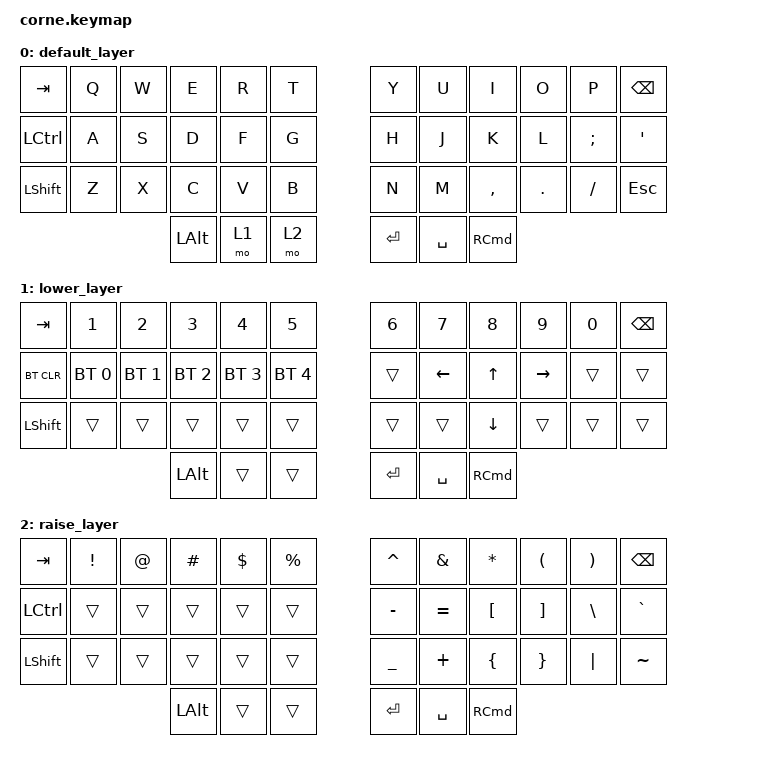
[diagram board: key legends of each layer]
/*
 * Copyright (c) 2020 The ZMK Contributors
 *
 * SPDX-License-Identifier: MIT
 */

#include <behaviors.dtsi>
#include <dt-bindings/zmk/keys.h>
#include <dt-bindings/zmk/bt.h>

/ {
        keymap {
                compatible = "zmk,keymap";

                default_layer {
// -----------------------------------------------------------------------------------------
// |  TAB |  Q  |  W  |  E  |  R  |  T  |   |  Y  |  U   |  I  |  O  |  P  | BSPC |
// | CTRL |  A  |  S  |  D  |  F  |  G  |   |  H  |  J   |  K  |  L  |  ;  |  '   |
// | SHFT |  Z  |  X  |  C  |  V  |  B  |   |  N  |  M   |  ,  |  .  |  /  | ESC  |
//                    | ALT | LWR | RSE |   | ENT | SPC  | CMD |
                        bindings = <
   &kp TAB   &kp Q &kp W &kp E &kp R &kp T   &kp Y &kp U  &kp I     &kp O   &kp P    &kp BSPC
   &kp LCTRL &kp A &kp S &kp D &kp F &kp G   &kp H &kp J  &kp K     &kp L   &kp SEMI &kp SQT
   &kp LSHFT &kp Z &kp X &kp C &kp V &kp B   &kp N &kp M  &kp COMMA &kp DOT &kp FSLH &kp ESC
                  &kp LALT &mo 1 &mo 2   &kp RET &kp SPACE &kp RCMD
                        >;
                };
                lower_layer {
// -----------------------------------------------------------------------------------------
// |  TAB |  1  |  2  |  3  |  4  |  5  |   |  6  |  7  |  8  |  9  |  0  | BSPC |
// | BTCLR| BT1 | BT2 | BT3 | BT4 | BT5 |   |     | LFT |  UP | RGT |     |      |
// | SHFT |     |     |     |     |     |   |     |     | DWN |     |     |      |
//                    | ALT |     |     |   | ENT | SPC | CMD |
                        bindings = <
   &kp TAB    &kp N1       &kp N2       &kp N3       &kp N4       &kp N5         &kp N6   &kp N7   &kp N8   &kp N9   &kp N0   &kp BSPC
   &bt BT_CLR &bt BT_SEL 0 &bt BT_SEL 1 &bt BT_SEL 2 &bt BT_SEL 3 &bt BT_SEL 4   &trans  &kp LEFT &kp UP &kp RIGHT &trans &trans
   &kp LSHFT  &trans       &trans       &trans       &trans       &trans         &trans   &trans   &kp DOWN &trans   &trans   &trans
                                    &kp LALT     &trans       &trans       &kp RET  &kp SPACE   &kp RCMD
                        >;
                };

                raise_layer {
// -----------------------------------------------------------------------------------------
// |  TAB |  !  |  @  |  #  |  $  |  %  |   |  ^  |  &  |  *  |  (  |  )  | BSPC |
// | CTRL |     |     |     |     |     |   |  -  |  =  |  [  |  ]  |  \  |  `   |
// | SHFT |     |     |     |     |     |   |  _  |  +  |  {  |  }  | "|" |  ~   |
//                    | ALT |     |     |   | ENT | SPC | CMD |
                        bindings = <
   &kp  TAB  &kp EXCL &kp AT &kp HASH &kp DLLR &kp PRCNT   &kp CARET &kp AMPS  &kp ASTRK &kp LPAR &kp RPAR &kp BSPC
   &kp LCTRL &trans   &trans &trans   &trans   &trans      &kp MINUS &kp EQUAL &kp LBKT  &kp RBKT &kp BSLH &kp GRAVE
   &kp LSHFT &trans   &trans &trans   &trans   &trans      &kp UNDER &kp PLUS  &kp LBRC  &kp RBRC &kp PIPE &kp TILDE
                             &kp LALT &trans   &trans    &kp RET   &kp SPACE    &kp RCMD
                        >;
                };
        };
};
